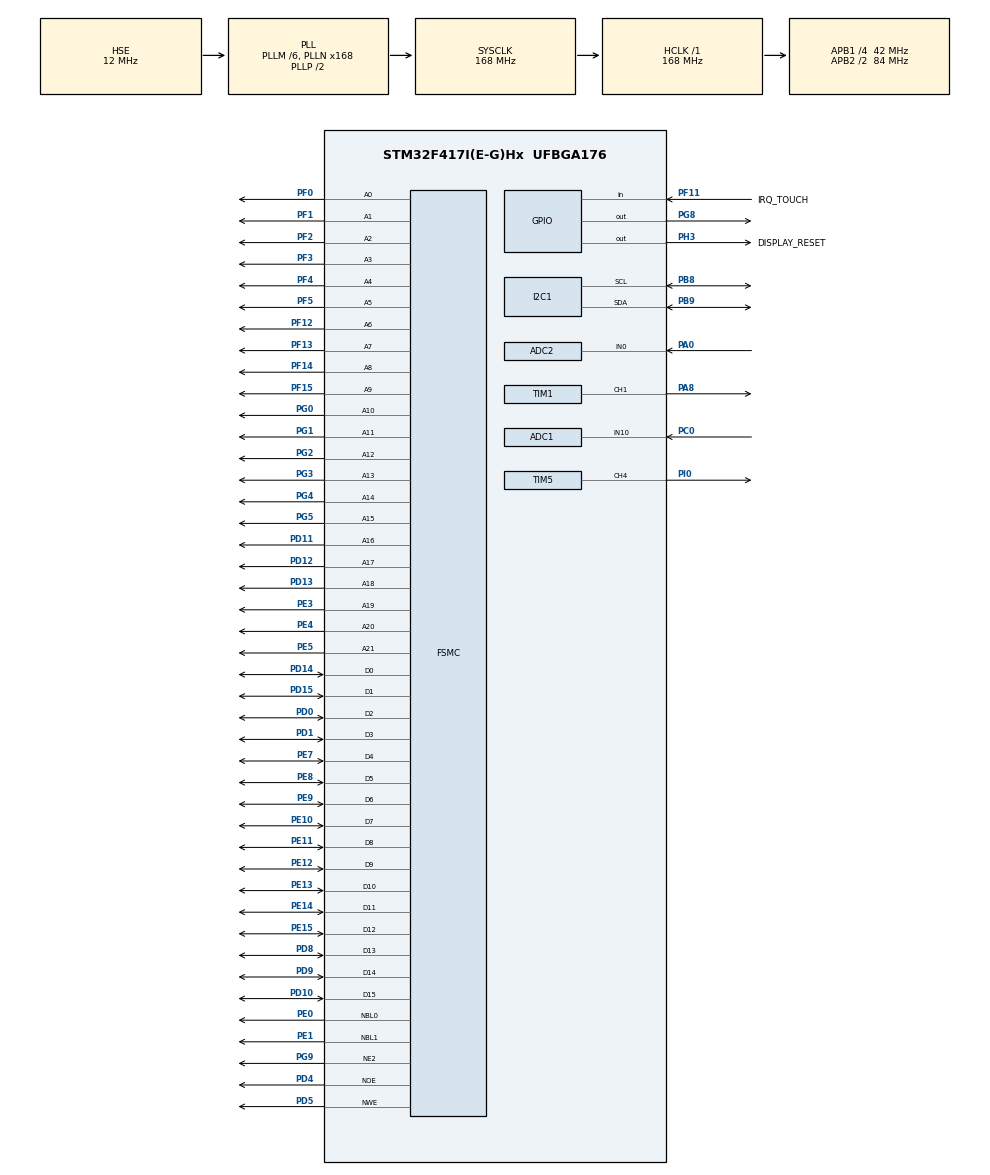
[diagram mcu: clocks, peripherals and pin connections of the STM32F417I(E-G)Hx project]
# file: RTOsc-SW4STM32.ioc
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ADC1.Channel-4\#ChannelRegularConversion=ADC_CHANNEL_10
ADC1.ClockPrescaler=ADC_CLOCK_SYNC_PCLK_DIV4
ADC1.ContinuousConvMode=DISABLE
ADC1.DMAContinuousRequests=DISABLE
ADC1.DataAlign=ADC_DATAALIGN_RIGHT
ADC1.DiscontinuousConvMode=DISABLE
ADC1.EOCSelection=ADC_EOC_SINGLE_CONV
ADC1.EnableAnalogWatchDog=false
ADC1.ExternalTrigConv=ADC_EXTERNALTRIGCONV_T1_CC1
ADC1.ExternalTrigConvEdge=ADC_EXTERNALTRIGCONVEDGE_RISING
ADC1.InjNumberOfConversion=0
ADC1.NbrOfConversion=1
ADC1.NbrOfConversionFlag=1
ADC1.Rank-4\#ChannelRegularConversion=1
ADC1.Resolution=ADC_RESOLUTION_12B
ADC1.SamplingTime-4\#ChannelRegularConversion=ADC_SAMPLETIME_3CYCLES
ADC1.ScanConvMode=DISABLE
ADC1.master=1
ADC2.Channel-0\#ChannelRegularConversion=ADC_CHANNEL_0
ADC2.ClockPrescaler=ADC_CLOCK_SYNC_PCLK_DIV4
ADC2.ContinuousConvMode=DISABLE
ADC2.DMAContinuousRequests=DISABLE
ADC2.DataAlign=ADC_DATAALIGN_RIGHT
ADC2.DiscontinuousConvMode=DISABLE
ADC2.EOCSelection=ADC_EOC_SINGLE_CONV
ADC2.EnableAnalogWatchDog=false
ADC2.ExternalTrigConv=ADC_EXTERNALTRIGCONV_T1_CC1
ADC2.ExternalTrigConvEdge=ADC_EXTERNALTRIGCONVEDGE_RISING
ADC2.InjNumberOfConversion=0
ADC2.NbrOfConversion=1
ADC2.NbrOfConversionFlag=1
ADC2.Rank-0\#ChannelRegularConversion=1
ADC2.Resolution=ADC_RESOLUTION_12B
ADC2.SamplingTime-0\#ChannelRegularConversion=ADC_SAMPLETIME_3CYCLES
ADC2.ScanConvMode=DISABLE
Dma.ADC1.0.Direction=DMA_PERIPH_TO_MEMORY
Dma.ADC1.0.FIFOMode=DMA_FIFOMODE_DISABLE
Dma.ADC1.0.Instance=DMA2_Stream0
Dma.ADC1.0.MemDataAlignment=DMA_MDATAALIGN_HALFWORD
Dma.ADC1.0.MemInc=DMA_MINC_ENABLE
Dma.ADC1.0.Mode=DMA_NORMAL
Dma.ADC1.0.PeriphDataAlignment=DMA_PDATAALIGN_HALFWORD
Dma.ADC1.0.PeriphInc=DMA_PINC_DISABLE
Dma.ADC1.0.Priority=DMA_PRIORITY_LOW
Dma.Request0=ADC1
FSMC.AddressSetupTime2=8
FSMC.BusTurnAroundDuration2=1
FSMC.DataSetupTime2=8
FSMC.WriteOperation2=FSMC_WRITE_OPERATION_ENABLE
Mcu.Family=STM32F4
Mcu.Name=STM32F417I(E-G)Hx
Mcu.Package=UFBGA176
NVIC.ADC_IRQn=true\:0\:0\:false\:false\:true\:true
NVIC.DMA2_Stream0_IRQn=true\:0\:0\:false\:false\:true\:false
NVIC.PriorityGroup=NVIC_PRIORITYGROUP_4
NVIC.TIM1_CC_IRQn=true\:0\:0\:false\:false\:true\:true
NVIC.TIM6_DAC_IRQn=true\:0\:0\:false\:false\:true\:false
NVIC.TimeBase=TIM6_DAC_IRQn
NVIC.TimeBaseIP=TIM6
PA0-WKUP.Signal=ADCx_IN0
PA13.Mode=JTAG_5_pins
PA13.Signal=SYS_JTMS-SWDIO
PA14.Mode=JTAG_5_pins
PA14.Signal=SYS_JTCK-SWCLK
PA15.Mode=JTAG_5_pins
PA15.Signal=SYS_JTDI
PA8.Signal=S_TIM1_CH1
PB3.Mode=JTAG_5_pins
PB3.Signal=SYS_JTDO-SWO
PB4.Mode=JTAG_5_pins
PB4.Signal=SYS_JTRST
PB8.GPIO_Mode=GPIO_MODE_AF_OD
PB8.GPIO_PuPdOD=GPIO_NOPULL
PB8.GPIO_Speed=GPIO_SPEED_FREQ_VERY_HIGH
PB8.Mode=I2C
PB8.Signal=I2C1_SCL
PB9.GPIO_Mode=GPIO_MODE_AF_OD
PB9.GPIO_PuPdOD=GPIO_NOPULL
PB9.GPIO_Speed=GPIO_SPEED_FREQ_VERY_HIGH
PB9.Mode=I2C
PB9.Signal=I2C1_SDA
PC0.Signal=ADCx_IN10
PD0.Signal=FSMC_D2_DA2
PD1.Signal=FSMC_D3_DA3
PD10.Signal=FSMC_D15_DA15
PD11.Signal=FSMC_A16_CLE
PD12.Signal=FSMC_A17_ALE
PD13.Signal=FSMC_A18
PD14.Signal=FSMC_D0_DA0
PD15.Signal=FSMC_D1_DA1
PD4.Signal=FSMC_NOE
PD5.Signal=FSMC_NWE
PD8.Signal=FSMC_D13_DA13
PD9.Signal=FSMC_D14_DA14
PE0.Signal=FSMC_NBL0
PE1.Signal=FSMC_NBL1
PE10.Signal=FSMC_D7_DA7
PE11.Signal=FSMC_D8_DA8
PE12.Signal=FSMC_D9_DA9
PE13.Signal=FSMC_D10_DA10
PE14.Signal=FSMC_D11_DA11
PE15.Signal=FSMC_D12_DA12
PE3.Signal=FSMC_A19
PE4.Signal=FSMC_A20
PE5.Signal=FSMC_A21
PE7.Signal=FSMC_D4_DA4
PE8.Signal=FSMC_D5_DA5
PE9.Signal=FSMC_D6_DA6
PF0.Signal=FSMC_A0
PF1.Signal=FSMC_A1
PF11.GPIO_Label=IRQ_TOUCH
PF11.GPIO_Mode=GPIO_MODE_INPUT
PF11.GPIO_PuPd=GPIO_NOPULL
PF11.Signal=GPIO_Input
PF12.Signal=FSMC_A6
PF13.Signal=FSMC_A7
PF14.Signal=FSMC_A8
PF15.Signal=FSMC_A9
PF2.Signal=FSMC_A2
PF3.Signal=FSMC_A3
PF4.Signal=FSMC_A4
PF5.Signal=FSMC_A5
PG0.Signal=FSMC_A10
PG1.Signal=FSMC_A11
PG2.Signal=FSMC_A12
PG3.Signal=FSMC_A13
PG4.Signal=FSMC_A14
PG5.Signal=FSMC_A15
PG8.GPIO_ModeDefaultOutputPP=GPIO_MODE_OUTPUT_PP
PG8.GPIO_PuPd=GPIO_NOPULL
PG8.GPIO_Speed=GPIO_SPEED_FREQ_LOW
PG8.PinState=GPIO_PIN_RESET
PG8.Signal=GPIO_Output
PG9.Mode=NorPsramChipSelect2_2
PG9.Signal=FSMC_NE2
PH0-OSC_IN.Mode=HSE-External-Oscillator
PH0-OSC_IN.Signal=RCC_OSC_IN
PH1-OSC_OUT.Mode=HSE-External-Oscillator
PH1-OSC_OUT.Signal=RCC_OSC_OUT
PH3.GPIO_Label=DISPLAY_RESET
PH3.GPIO_ModeDefaultOutputPP=GPIO_MODE_OUTPUT_PP
PH3.GPIO_PuPd=GPIO_NOPULL
PH3.GPIO_Speed=GPIO_SPEED_FREQ_LOW
PH3.PinState=GPIO_PIN_RESET
PH3.Signal=GPIO_Output
PI0.Signal=S_TIM5_CH4
ProjectManager.HeapSize=0x200
ProjectManager.StackSize=0x400
ProjectManager.TargetToolchain=SW4STM32
RCC.48MHZClocksFreq_Value=84000000
RCC.AHBFreq_Value=168000000
RCC.APB1CLKDivider=RCC_HCLK_DIV4
RCC.APB1Freq_Value=42000000
RCC.APB1TimFreq_Value=84000000
RCC.APB2CLKDivider=RCC_HCLK_DIV2
RCC.APB2Freq_Value=84000000
RCC.APB2TimFreq_Value=168000000
RCC.CortexFreq_Value=168000000
RCC.HCLKFreq_Value=168000000
RCC.HSE_VALUE=12000000
RCC.HSI_VALUE=16000000
RCC.LSE_VALUE=32768
RCC.PLLM=6
RCC.PLLN=168
RCC.PLLSourceVirtual=RCC_PLLSOURCE_HSE
RCC.SYSCLKFreq_VALUE=168000000
RCC.SYSCLKSource=RCC_SYSCLKSOURCE_PLLCLK
RCC.VCOOutputFreq_Value=336000000
SH.ADCx_IN0.0=ADC2_IN0,IN0
SH.ADCx_IN10.0=ADC1_IN10,IN10
SH.FSMC_A0.0=FSMC_A0,22b-a2
SH.FSMC_A1.0=FSMC_A1,22b-a2
SH.FSMC_A10.0=FSMC_A10,22b-a2
SH.FSMC_A11.0=FSMC_A11,22b-a2
SH.FSMC_A12.0=FSMC_A12,22b-a2
SH.FSMC_A13.0=FSMC_A13,22b-a2
SH.FSMC_A14.0=FSMC_A14,22b-a2
SH.FSMC_A15.0=FSMC_A15,22b-a2
SH.FSMC_A16_CLE.0=FSMC_A16,22b-a2
SH.FSMC_A17_ALE.0=FSMC_A17,22b-a2
SH.FSMC_A18.0=FSMC_A18,22b-a2
SH.FSMC_A19.0=FSMC_A19,22b-a2
SH.FSMC_A2.0=FSMC_A2,22b-a2
SH.FSMC_A20.0=FSMC_A20,22b-a2
SH.FSMC_A21.0=FSMC_A21,22b-a2
SH.FSMC_A3.0=FSMC_A3,22b-a2
SH.FSMC_A4.0=FSMC_A4,22b-a2
SH.FSMC_A5.0=FSMC_A5,22b-a2
SH.FSMC_A6.0=FSMC_A6,22b-a2
SH.FSMC_A7.0=FSMC_A7,22b-a2
SH.FSMC_A8.0=FSMC_A8,22b-a2
SH.FSMC_A9.0=FSMC_A9,22b-a2
SH.FSMC_D0_DA0.0=FSMC_D0,16b-d2
SH.FSMC_D10_DA10.0=FSMC_D10,16b-d2
SH.FSMC_D11_DA11.0=FSMC_D11,16b-d2
SH.FSMC_D12_DA12.0=FSMC_D12,16b-d2
SH.FSMC_D13_DA13.0=FSMC_D13,16b-d2
SH.FSMC_D14_DA14.0=FSMC_D14,16b-d2
SH.FSMC_D15_DA15.0=FSMC_D15,16b-d2
SH.FSMC_D1_DA1.0=FSMC_D1,16b-d2
SH.FSMC_D2_DA2.0=FSMC_D2,16b-d2
SH.FSMC_D3_DA3.0=FSMC_D3,16b-d2
SH.FSMC_D4_DA4.0=FSMC_D4,16b-d2
SH.FSMC_D5_DA5.0=FSMC_D5,16b-d2
SH.FSMC_D6_DA6.0=FSMC_D6,16b-d2
SH.FSMC_D7_DA7.0=FSMC_D7,16b-d2
SH.FSMC_D8_DA8.0=FSMC_D8,16b-d2
SH.FSMC_D9_DA9.0=FSMC_D9,16b-d2
SH.FSMC_NBL0.0=FSMC_NBL0,2ByteEnable2
SH.FSMC_NBL1.0=FSMC_NBL1,2ByteEnable2
SH.FSMC_NOE.0=FSMC_NOE,Sram2
SH.FSMC_NWE.0=FSMC_NWE,Sram2
SH.S_TIM1_CH1.0=TIM1_CH1,Output Compare1 CH1
SH.S_TIM5_CH4.0=TIM5_CH4,PWM Generation4 CH4
TIM1.Channel-Output\ Compare1\ CH1=TIM_CHANNEL_1
TIM1.ClockDivision=TIM_CLOCKDIVISION_DIV2
TIM1.OCMode_1=TIM_OCMODE_TOGGLE
TIM1.Period=42000
TIM1.Prescaler=1
TIM1.TIM_MasterOutputTrigger=TIM_TRGO_RESET
TIM5.Channel-PWM\ Generation4\ CH4=TIM_CHANNEL_4
TIM5.Period=1000
TIM5.Prescaler=4
VP_SYS_VS_tim6.Mode=TIM6
VP_TIM1_VS_ClockSourceINT.Mode=Internal
board=RTOsc-SW4STM32

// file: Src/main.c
/**
  ******************************************************************************
  * File Name          : main.c
  * Description        : Main program body
  ******************************************************************************
  ** This notice applies to any and all portions of this file
  * that are not between comment pairs USER CODE BEGIN and
  * USER CODE END. Other portions of this file, whether
  * inserted by the user or by software development tools
  * are owned by their respective copyright owners.
  *
  * COPYRIGHT(c) 2018 STMicroelectronics
  *
  * Redistribution and use in source and binary forms, with or without modification,
  * are permitted provided that the following conditions are met:
  *   1. Redistributions of source code must retain the above copyright notice,
  *      this list of conditions and the following disclaimer.
  *   2. Redistributions in binary form must reproduce the above copyright notice,
  *      this list of conditions and the following disclaimer in the documentation
  *      and/or other materials provided with the distribution.
  *   3. Neither the name of STMicroelectronics nor the names of its contributors
  *      may be used to endorse or promote products derived from this software
  *      without specific prior written permission.
  *
  * THIS SOFTWARE IS PROVIDED BY THE COPYRIGHT HOLDERS AND CONTRIBUTORS "AS IS"
  * AND ANY EXPRESS OR IMPLIED WARRANTIES, INCLUDING, BUT NOT LIMITED TO, THE
  * IMPLIED WARRANTIES OF MERCHANTABILITY AND FITNESS FOR A PARTICULAR PURPOSE ARE
  * DISCLAIMED. IN NO EVENT SHALL THE COPYRIGHT HOLDER OR CONTRIBUTORS BE LIABLE
  * FOR ANY DIRECT, INDIRECT, INCIDENTAL, SPECIAL, EXEMPLARY, OR CONSEQUENTIAL
  * DAMAGES (INCLUDING, BUT NOT LIMITED TO, PROCUREMENT OF SUBSTITUTE GOODS OR
  * SERVICES; LOSS OF USE, DATA, OR PROFITS; OR BUSINESS INTERRUPTION) HOWEVER
  * CAUSED AND ON ANY THEORY OF LIABILITY, WHETHER IN CONTRACT, STRICT LIABILITY,
  * OR TORT (INCLUDING NEGLIGENCE OR OTHERWISE) ARISING IN ANY WAY OUT OF THE USE
  * OF THIS SOFTWARE, EVEN IF ADVISED OF THE POSSIBILITY OF SUCH DAMAGE.
  *
  ******************************************************************************
  */

#include "main.h"
#include "stm32f4xx_hal.h"
#include "adc.h"
#include "dma.h"
#include "i2c.h"
#include "tim.h"
#include "gpio.h"
#include "fsmc.h"

/* USER CODE BEGIN Includes */
#define POINTS_NB 300
/* USER CODE END Includes */

/* USER CODE BEGIN PV */
uint16_t points[POINTS_NB];
uint16_t index = 0;
uint16_t triggerLevel = 0;
/* Private variables ---------------------------------------------------------*/
/* USER CODE END PV */

void SystemClock_Config(void);

/* USER CODE BEGIN PFP */
/* Private function prototypes -----------------------------------------------*/

/* USER CODE END PFP */

int main(void)
{

  /* USER CODE BEGIN 1 */
	xfInit(500); //TIM 6 @ 2kHz => tick intervall = 500 us This means the timeouts have to be scheduled in us
  /* USER CODE END 1 */

  /* MCU Configuration----------------------------------------------------------*/

  /* Reset of all peripherals, Initializes the Flash interface and the Systick. */
  HAL_Init();

  /* USER CODE BEGIN Init */
  fsmSetUp(points, POINTS_NB, &triggerLevel);
  /* USER CODE END Init */

  /* Configure the system clock */
  SystemClock_Config();

  /* Initialize all configured peripherals */
  MX_GPIO_Init();
  MX_DMA_Init();
  MX_ADC1_Init();
  MX_TIM1_Init();
  MX_FSMC_Init();
  MX_I2C1_Init();
  MX_TIM5_Init();
  MX_ADC2_Init();

  /* USER CODE BEGIN 2 */
  HAL_TIM_OC_Start_IT(&htim1, TIM_CHANNEL_1);
  HAL_TIM_PWM_Start(&htim5, TIM_CHANNEL_4);
  HAL_ADC_Start_IT(&hadc1);
  HAL_ADC_Start_IT(&hadc2);
  guiInit();
  xfStart();
  /* USER CODE END 2 */

  /* Infinite loop */
  while (1)
  {

  }

}

/** System Clock Configuration
*/
void SystemClock_Config(void)
{

  RCC_OscInitTypeDef RCC_OscInitStruct;
  RCC_ClkInitTypeDef RCC_ClkInitStruct;

    /**Configure the main internal regulator output voltage
    */
  __HAL_RCC_PWR_CLK_ENABLE();

  __HAL_PWR_VOLTAGESCALING_CONFIG(PWR_REGULATOR_VOLTAGE_SCALE1);

    /**Initializes the CPU, AHB and APB busses clocks
    */
  RCC_OscInitStruct.OscillatorType = RCC_OSCILLATORTYPE_HSE;
  RCC_OscInitStruct.HSEState = RCC_HSE_ON;
  RCC_OscInitStruct.PLL.PLLState = RCC_PLL_ON;
  RCC_OscInitStruct.PLL.PLLSource = RCC_PLLSOURCE_HSE;
  RCC_OscInitStruct.PLL.PLLM = 6;
  RCC_OscInitStruct.PLL.PLLN = 168;
  RCC_OscInitStruct.PLL.PLLP = RCC_PLLP_DIV2;
  RCC_OscInitStruct.PLL.PLLQ = 4;
  if (HAL_RCC_OscConfig(&RCC_OscInitStruct) != HAL_OK)
  {
    _Error_Handler(__FILE__, __LINE__);
  }

    /**Initializes the CPU, AHB and APB busses clocks
    */
  RCC_ClkInitStruct.ClockType = RCC_CLOCKTYPE_HCLK|RCC_CLOCKTYPE_SYSCLK
                              |RCC_CLOCKTYPE_PCLK1|RCC_CLOCKTYPE_PCLK2;
  RCC_ClkInitStruct.SYSCLKSource = RCC_SYSCLKSOURCE_PLLCLK;
  RCC_ClkInitStruct.AHBCLKDivider = RCC_SYSCLK_DIV1;
  RCC_ClkInitStruct.APB1CLKDivider = RCC_HCLK_DIV4;
  RCC_ClkInitStruct.APB2CLKDivider = RCC_HCLK_DIV2;

  if (HAL_RCC_ClockConfig(&RCC_ClkInitStruct, FLASH_LATENCY_5) != HAL_OK)
  {
    _Error_Handler(__FILE__, __LINE__);
  }

    /**Configure the Systick interrupt time
    */
  HAL_SYSTICK_Config(HAL_RCC_GetHCLKFreq()/1000);

    /**Configure the Systick
    */
  HAL_SYSTICK_CLKSourceConfig(SYSTICK_CLKSOURCE_HCLK);

  /* SysTick_IRQn interrupt configuration */
  HAL_NVIC_SetPriority(SysTick_IRQn, 0, 0);
}

/* USER CODE BEGIN 4 */
void HAL_ADC_ConvCpltCallback(ADC_HandleTypeDef* hadc)
{
	volatile uint32_t value = HAL_ADC_GetValue(hadc);

	//ADC1 measures the level of the input signal
	if(hadc->Instance->SR == hadc1.Instance->SR)
	{
		cyclePushValue((uint16_t) value);
	}

	//ADC2 measures the level of the trigger
	else if(hadc->Instance->SR == hadc2.Instance->SR)
	{
		triggerLevel = (uint16_t)value;
	}
}

void cyclePushValue(uint16_t value)
{
	points[index] = value;
	index++;
	if(index%POINTS_NB == 0)
	{
		index = 0;
	}
}

void HAL_TIM_OC_DelayElapsedCallback(TIM_HandleTypeDef *htim)
{
	HAL_GPIO_TogglePin(GPIOG, GPIO_PIN_8);
	xfTimeoutManagerTick();
}
/* USER CODE END 4 */

void HAL_TIM_PeriodElapsedCallback(TIM_HandleTypeDef *htim)
{
  if (htim->Instance == TIM6) {
    HAL_IncTick();
  }
}

void _Error_Handler(char * file, int line)
{
  while(1)
  {
  }
}

/************************ (C) COPYRIGHT STMicroelectronics *****END OF FILE****/
